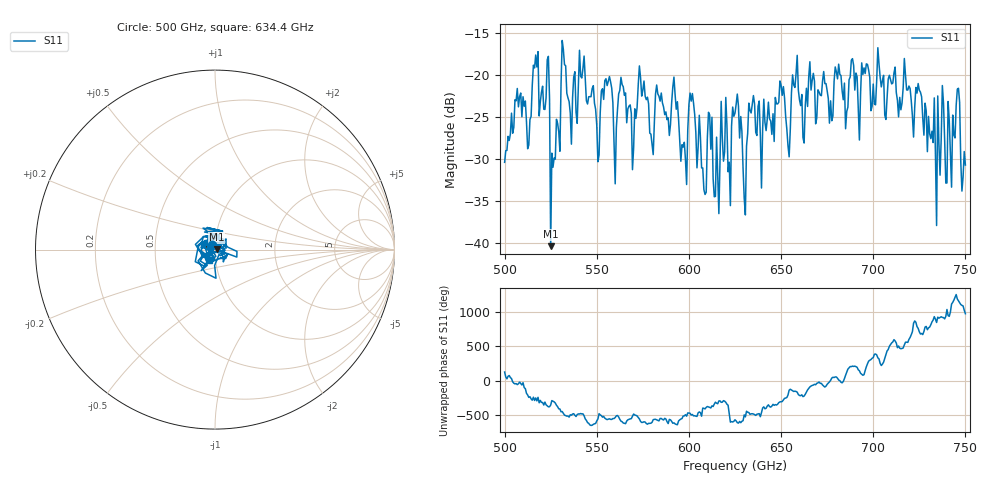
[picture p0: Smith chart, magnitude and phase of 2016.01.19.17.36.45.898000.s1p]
!Created with skrf (http://scikit-rf.org).
# GHz S RI R 50.0
!freq ReS11 ImS11
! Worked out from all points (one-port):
!   401 points, 500 GHz to 750 GHz, reference 50 ohm
!   lowest |S11| = -40.4 dB at 525 GHz (marker M1), VSWR 1.02, Z = 51 + j0.117 ohm
!   |S11| at or under -10 dB: start of sweep to end of sweep
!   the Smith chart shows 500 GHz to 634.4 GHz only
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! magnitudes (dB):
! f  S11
! 500 GHz  -30.4
! 507.5 GHz  -23.8
! 513.1 GHz  -28.4
! 516.9 GHz  -17.7
! 523.1 GHz  -18.2
! 525 GHz  -40.4
! 526.2 GHz  -31.0
! 531.2 GHz  -15.9
! 541.9 GHz  -20.4
! 550.6 GHz  -30.3
! 562.5 GHz  -21.9
! 593.8 GHz  -23.2
! 597.5 GHz  -28.0
! 601.9 GHz  -22.2
! 608.1 GHz  -33.6
! 611.2 GHz  -24.8
! 615 GHz  -27.4
! 625 GHz  -24.6
! 630.6 GHz  -36.7
! 633.8 GHz  -24.5
! 650.6 GHz  -22.5
! 653.8 GHz  -28.4
! 656.2 GHz  -20.0
! 687.5 GHz  -20.3
! 718.8 GHz  -21.8
! 735 GHz  -22.5
! 745.6 GHz  -21.7
! 750 GHz  -30.7
